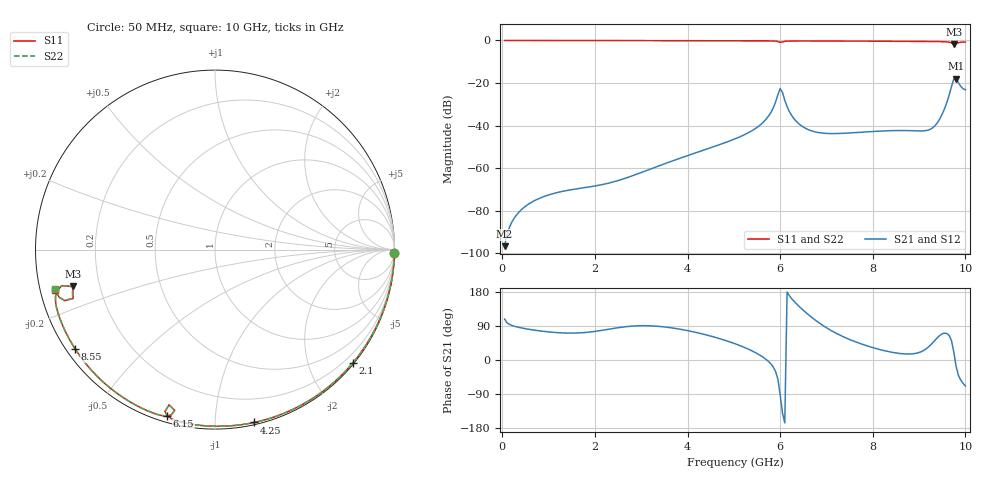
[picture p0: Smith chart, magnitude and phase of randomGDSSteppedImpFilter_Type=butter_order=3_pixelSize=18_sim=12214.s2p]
! freq	dB(S11)	phase(S11)	dB(S12)	phase(S12)
!  dB(S21)	phase(S21)	dB(S22)	phase(S22)
!S-par simulation data
#  GHz  S  DB  R 50
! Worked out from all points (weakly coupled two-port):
!   200 points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, 50 MHz to 10 GHz, reference 50 ohm
!   highest |S21| = -17.95 dB at 9.8 GHz (marker M1); lowest = -96.6 dB at 50 MHz (marker M2)
!   lowest |S11| = -1.7 dB at 9.75 GHz (marker M3), VSWR 10.02, Z = 5.07 - j6.31 ohm
!   |S11| at or under -10 dB: nowhere
!   |S22| runs from -1.7 to 0.0 dB; largest |S21 - S12| = 0
!   S11 on the Smith chart (normalised r, x): 50 MHz: open; 2.1 GHz: 0.03, -2.78; 4.25 GHz: 0.02, -1.25; 6.15 GHz: 0.03, -0.75; 8.55 GHz: 0.02, -0.32; 10 GHz: 0.04, -0.12
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0.05  -0.00 -1.0  -96.63 108.1  -96.63 108.1  -0.00 -1.0
0.4  -0.01 -7.7  -79.73 84.9  -79.73 84.9  -0.01 -7.7
0.9  -0.02 -17.2  -73.31 75.4  -73.31 75.4  -0.02 -17.2
1.75  -0.04 -33.1  -69.22 72.2  -69.22 72.2  -0.04 -33.1
2.1  -0.05 -39.5  -67.96 77.3  -67.96 77.3  -0.05 -39.5
3.4  -0.08 -62.7  -58.77 88.6  -58.77 88.6  -0.08 -62.7
4.25  -0.11 -77.2  -52.23 70.9  -52.23 70.9  -0.11 -77.2
5.05  -0.14 -90.5  -46.02 41.8  -46.02 41.8  -0.14 -90.5
5.45  -0.16 -97.1  -41.60 20.5  -41.60 20.5  -0.16 -97.1
5.7  -0.18 -101.5  -36.88 1.2  -36.88 1.2  -0.18 -101.5
5.85  -0.24 -104.5  -31.71 -18.3  -31.71 -18.3  -0.24 -104.5
6  -0.90 -106.5  -22.60 -91.3  -22.60 -91.3  -0.90 -106.5
6.15  -0.31 -106.1  -31.09 179.5  -31.09 179.5  -0.31 -106.1
6.35  -0.24 -110.1  -38.02 148.5  -38.02 148.5  -0.24 -110.1
6.7  -0.24 -115.8  -42.61 110.8  -42.61 110.8  -0.24 -115.8
8.35  -0.37 -141.4  -42.39 21.9  -42.39 21.9  -0.37 -141.4
8.55  -0.39 -144.6  -42.30 17.7  -42.30 17.7  -0.39 -144.6
9.3  -0.50 -157.0  -40.93 46.4  -40.93 46.4  -0.50 -157.0
9.55  -0.60 -162.2  -32.05 70.9  -32.05 70.9  -0.60 -162.2
9.75  -1.74 -165.5  -18.09 21.0  -18.09 21.0  -1.71 -165.5
9.8  -1.56 -161.0  -17.95 -17.1  -17.95 -17.1  -1.53 -161.1
10  -0.75 -166.0  -23.18 -68.7  -23.18 -68.7  -0.75 -166.1
